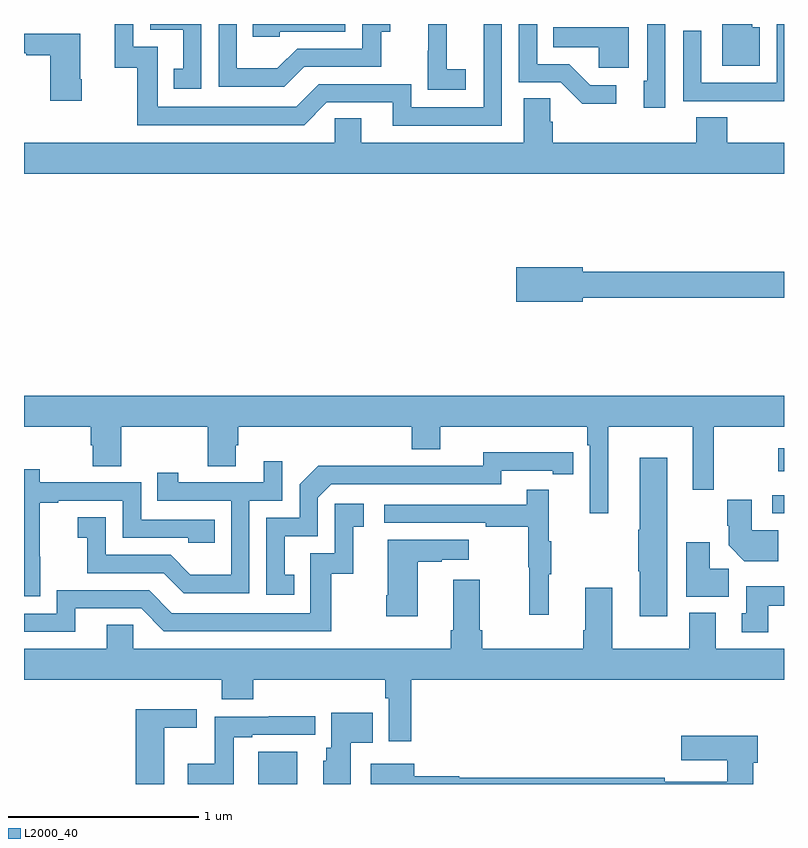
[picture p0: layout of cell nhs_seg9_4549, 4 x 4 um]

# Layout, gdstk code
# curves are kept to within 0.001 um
import gdstk
lib = gdstk.Library(unit=1e-6, precision=1e-09)
def R(c, l, rs):  # rectangles x0, y0, x1, y1
    for r in rs: c.add(gdstk.rectangle(r[:2], r[2:], *l))
def P(c, l, *ps):  # polygons
    for p in ps: c.add(gdstk.Polygon(p, *l))
L2000_40 = (2000, 40)

nhs_seg9_4549 = lib.new_cell('nhs_seg9_4549')
R(nhs_seg9_4549, L2000_40, [(372.233,1234.5,372.439,1234.669), (374.937,1235.925,375,1236.021), (374.97,1236.146,375,1236.268)])
P(nhs_seg9_4549, L2000_40, [(374.116,1238.178),(373.981,1238.178),(373.87,1238.289),(373.701,1238.289),(373.701,1238.5),(373.605,1238.5),(373.605,1238.193),(373.824,1238.193),(373.937,1238.081),(374.116,1238.081)],
  [(372.345,1238.46),(372.69,1238.46),(372.69,1238.5),(372.205,1238.5),(372.205,1238.433),(372.345,1238.433)],
  [(372.475,1238.274),(372.879,1238.274),(372.879,1238.459),(372.928,1238.459),(372.928,1238.5),(372.78,1238.5),(372.78,1238.37),(372.438,1238.37),(372.334,1238.266),(372.12,1238.266),(372.12,1238.5),(372.024,1238.5),(372.024,1238.169),(372.37,1238.169)],
  [(374.376,1238.5),(374.28,1238.5),(374.28,1238.202),(374.261,1238.202),(374.261,1238.058),(374.376,1238.058)],
  [(373.515,1238.5),(373.419,1238.5),(373.419,1238.061),(373.038,1238.061),(373.038,1238.184),(372.552,1238.184),(372.432,1238.064),(371.703,1238.064),(371.703,1238.379),(371.574,1238.379),(371.574,1238.5),(371.477,1238.5),(371.477,1238.271),(371.595,1238.271),(371.595,1237.968),(372.474,1237.968),(372.594,1238.088),(372.941,1238.088),(372.941,1237.965),(373.515,1237.965)],
  [(373.324,1238.263),(373.226,1238.263),(373.226,1238.492),(373.224,1238.492),(373.224,1238.5),(373.127,1238.5),(373.127,1238.359),(373.126,1238.359),(373.126,1238.153),(373.324,1238.153)],
  [(371.934,1238.5),(371.664,1238.5),(371.664,1238.469),(371.837,1238.469),(371.837,1238.265),(371.788,1238.265),(371.788,1238.16),(371.934,1238.16)],
  [(374.872,1238.482),(374.833,1238.482),(374.833,1238.5),(374.675,1238.5),(374.675,1238.279),(374.872,1238.279)],
  [(375,1238.5),(374.961,1238.5),(374.961,1238.19),(374.565,1238.19),(374.565,1238.464),(374.469,1238.464),(374.469,1238.094),(374.785,1238.094),(374.785,1238.093),(375,1238.093)],
  [(374.182,1238.482),(373.786,1238.482),(373.786,1238.378),(374.025,1238.378),(374.025,1238.27),(374.182,1238.27)],
  [(371.304,1238.209),(371.296,1238.209),(371.296,1238.449),(371,1238.449),(371,1238.345),(371.012,1238.345),(371.012,1238.335),(371.138,1238.335),(371.138,1238.097),(371.304,1238.097)],
  [(375,1237.876),(374.702,1237.876),(374.702,1238.009),(374.537,1238.009),(374.537,1237.876),(373.784,1237.876),(373.784,1237.985),(373.77,1237.985),(373.77,1238.108),(373.631,1238.108),(373.631,1237.876),(372.775,1237.876),(372.775,1238.003),(372.636,1238.003),(372.636,1237.876),(371,1237.876),(371,1237.712),(375,1237.712)],
  [(373.942,1237.06),(375,1237.06),(375,1237.196),(373.942,1237.196),(373.942,1237.22),(373.59,1237.22),(373.59,1237.037),(373.942,1237.037)],
  [(374.074,1236.38),(374.519,1236.38),(374.519,1236.048),(374.629,1236.048),(374.629,1236.38),(375,1236.38),(375,1236.544),(371,1236.544),(371,1236.38),(371.351,1236.38),(371.351,1236.282),(371.363,1236.282),(371.363,1236.172),(371.511,1236.172),(371.511,1236.38),(371.968,1236.38),(371.968,1236.172),(372.115,1236.172),(372.115,1236.282),(372.128,1236.282),(372.128,1236.38),(373.04,1236.38),(373.04,1236.263),(373.192,1236.263),(373.192,1236.38),(373.964,1236.38),(373.964,1236.284),(373.977,1236.284),(373.977,1235.925),(374.074,1235.925)],
  [(372.422,1235.601),(372.373,1235.601),(372.373,1235.805),(372.546,1235.805),(372.546,1236.006),(372.618,1236.078),(373.512,1236.078),(373.512,1236.15),(373.784,1236.15),(373.784,1236.13),(373.892,1236.13),(373.892,1236.246),(373.416,1236.247),(373.416,1236.174),(372.956,1236.174),(372.956,1236.176),(372.548,1236.176),(372.45,1236.078),(372.45,1235.901),(372.276,1235.901),(372.276,1235.496),(372.422,1235.496)],
  [(374.386,1236.217),(374.24,1236.217),(374.24,1235.837),(374.233,1235.837),(374.233,1235.62),(374.24,1235.62),(374.24,1235.382),(374.386,1235.382)],
  [(372.186,1235.991),(372.36,1235.991),(372.36,1236.199),(372.263,1236.199),(372.263,1236.087),(371.812,1236.087),(371.812,1236.139),(371.701,1236.139),(371.701,1235.991),(372.09,1235.991),(372.09,1235.602),(371.876,1235.602),(371.772,1235.706),(371.43,1235.706),(371.43,1235.905),(371.283,1235.905),(371.283,1235.795),(371.332,1235.795),(371.332,1235.61),(371.735,1235.61),(371.84,1235.505),(372.186,1235.505)],
  [(371.085,1235.695),(371.084,1235.695),(371.084,1235.979),(371.179,1235.979),(371.179,1235.991),(371.52,1235.991),(371.52,1235.796),(371.865,1235.796),(371.865,1235.769),(372.005,1235.769),(372.005,1235.892),(371.616,1235.892),(371.616,1236.087),(371.082,1236.087),(371.082,1236.156),(371,1236.156),(371,1235.489),(371.085,1235.489)],
  [(373.763,1235.603),(373.774,1235.603),(373.774,1235.777),(373.763,1235.777),(373.763,1236.049),(373.645,1236.049),(373.645,1235.97),(372.897,1235.97),(372.897,1235.874),(373.429,1235.874),(373.429,1235.854),(373.653,1235.854),(373.653,1235.64),(373.66,1235.64),(373.66,1235.391),(373.763,1235.391)],
  [(374.969,1235.836),(374.83,1235.836),(374.83,1235.995),(374.701,1235.995),(374.701,1235.86),(374.708,1235.86),(374.708,1235.756),(374.792,1235.672),(374.969,1235.672)],
  [(371.269,1235.424),(371.616,1235.424),(371.736,1235.304),(372.616,1235.304),(372.616,1235.607),(372.734,1235.607),(372.734,1235.853),(372.787,1235.853),(372.787,1235.974),(372.636,1235.974),(372.636,1235.715),(372.507,1235.715),(372.507,1235.4),(371.778,1235.4),(371.658,1235.52),(371.172,1235.52),(371.172,1235.397),(371,1235.397),(371,1235.301),(371.269,1235.301)],
  [(373.072,1235.671),(373.199,1235.671),(373.199,1235.681),(373.342,1235.681),(373.342,1235.785),(372.914,1235.785),(372.914,1235.494),(372.907,1235.494),(372.907,1235.382),(373.072,1235.382)],
  [(374.71,1235.633),(374.608,1235.633),(374.608,1235.773),(374.486,1235.773),(374.486,1235.486),(374.71,1235.486)],
  [(372.041,1234.946),(372.206,1234.946),(372.206,1235.048),(372.901,1235.048),(372.901,1234.952),(372.921,1234.952),(372.921,1234.725),(373.037,1234.725),(373.037,1235.048),(375,1235.048),(375,1235.212),(374.641,1235.212),(374.641,1235.401),(374.501,1235.401),(374.501,1235.212),(374.095,1235.212),(374.095,1235.533),(373.955,1235.533),(373.955,1235.308),(373.943,1235.308),(373.943,1235.212),(373.412,1235.212),(373.412,1235.308),(373.399,1235.308),(373.399,1235.575),(373.259,1235.575),(373.259,1235.308),(373.247,1235.308),(373.247,1235.212),(371.574,1235.212),(371.574,1235.339),(371.435,1235.339),(371.435,1235.212),(371,1235.212),(371,1235.048),(372.041,1235.048)],
  [(374.917,1235.438),(375,1235.438),(375,1235.542),(374.801,1235.542),(374.801,1235.4),(374.777,1235.4),(374.777,1235.298),(374.917,1235.298)],
  [(371.737,1234.796),(371.908,1234.796),(371.908,1234.894),(371.588,1234.894),(371.588,1234.5),(371.737,1234.5)],
  [(372.721,1234.718),(372.836,1234.718),(372.836,1234.876),(372.617,1234.876),(372.617,1234.692),(372.59,1234.692),(372.59,1234.623),(372.575,1234.623),(372.575,1234.5),(372.721,1234.5)],
  [(372.105,1234.746),(372.202,1234.746),(372.202,1234.758),(372.532,1234.758),(372.532,1234.856),(372.289,1234.856),(372.289,1234.854),(372.004,1234.854),(372.004,1234.606),(371.862,1234.606),(371.862,1234.5),(372.105,1234.5)],
  [(374.837,1234.613),(374.861,1234.613),(374.861,1234.755),(374.46,1234.755),(374.46,1234.625),(374.701,1234.625),(374.701,1234.512),(374.372,1234.512),(374.372,1234.532),(373.29,1234.532),(373.29,1234.54),(373.054,1234.54),(373.054,1234.606),(372.824,1234.606),(372.824,1234.5),(374.837,1234.5)])

lib.write_gds('nhs_seg9_4549.gds')
